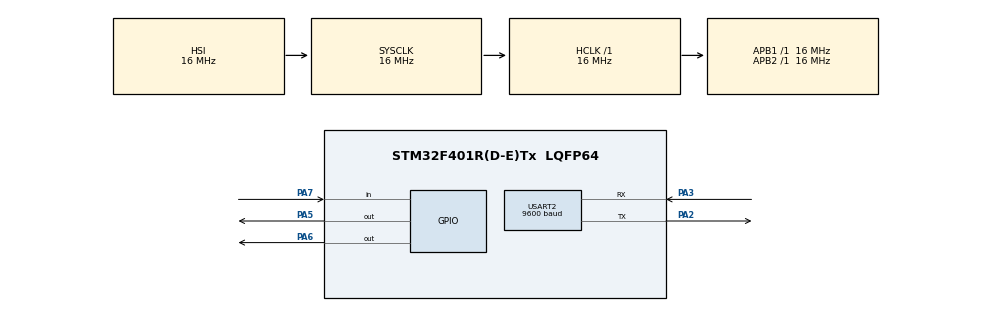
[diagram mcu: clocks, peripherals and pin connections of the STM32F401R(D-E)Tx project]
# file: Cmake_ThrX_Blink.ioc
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Mcu.Family=STM32F4
Mcu.Name=STM32F401R(D-E)Tx
Mcu.Package=LQFP64
NVIC.PriorityGroup=NVIC_PRIORITYGROUP_4
NVIC.TIM5_IRQn=true\:15\:0\:false\:false\:true\:false\:false\:true\:true
NVIC.TimeBase=TIM5_IRQn
NVIC.TimeBaseIP=TIM5
NVIC.USART2_IRQn=true\:0\:0\:false\:false\:true\:false\:true\:true\:true
PA2.Mode=Asynchronous
PA2.Signal=USART2_TX
PA3.Mode=Asynchronous
PA3.Signal=USART2_RX
PA5.Signal=GPIO_Output
PA6.Signal=GPIO_Output
PA7.Signal=GPIO_Input
ProjectManager.HeapSize=0x200
ProjectManager.StackSize=0x400
ProjectManager.TargetToolchain=CMake
RCC.48MHZClocksFreq_Value=48000000
RCC.AHBFreq_Value=16000000
RCC.APB1Freq_Value=16000000
RCC.APB1TimFreq_Value=16000000
RCC.APB2Freq_Value=16000000
RCC.APB2TimFreq_Value=16000000
RCC.CortexFreq_Value=16000000
RCC.HCLKFreq_Value=16000000
RCC.HSE_VALUE=25000000
RCC.HSI_VALUE=16000000
RCC.LSE_VALUE=32768
RCC.SYSCLKFreq_VALUE=16000000
RCC.VCOOutputFreq_Value=192000000
STMicroelectronics.X-CUBE-AZRTOS-F4.1.1.0.ThreadXCcRTOSJjThreadXJjCore=true
STMicroelectronics.X-CUBE-AZRTOS-F4.1.1.0_IsAnAzureRtosMw=true
USART2.BaudRate=9600
USART2.Mode=MODE_TX
USART2.VirtualMode=VM_ASYNC
VP_STMicroelectronics.X-CUBE-AZRTOS-F4_VS_RTOSJjThreadX_6.1.10_1.1.0.Mode=RTOSJjThreadX
VP_SYS_VS_tim5.Mode=TIM5
board=custom

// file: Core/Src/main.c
/* USER CODE BEGIN Header */
/**
  ******************************************************************************
  * @file           : main.c
  * @brief          : Main program body
  ******************************************************************************
  * @attention
  *
  * Copyright (c) 2025 STMicroelectronics.
  * All rights reserved.
  *
  * This software is licensed under terms that can be found in the LICENSE file
  * in the root directory of this software component.
  * If no LICENSE file comes with this software, it is provided AS-IS.
  *
  ******************************************************************************
  */
/* USER CODE END Header */
#include "app_threadx.h"
#include "main.h"

UART_HandleTypeDef huart2;

/* USER CODE BEGIN PV */
char msg[] = "Hello, UART!\r\n";

/* USER CODE END PV */

void SystemClock_Config(void);
static void MX_GPIO_Init(void);
static void MX_USART2_UART_Init(void);

/* USER CODE BEGIN 0 */
void debug_message(const char *message)
{
    HAL_UART_Transmit(&huart2, (uint8_t *)message, strlen(message), HAL_MAX_DELAY);
}
void delay(volatile uint32_t delay_count) {
    while (delay_count--) {
        __asm("NOP");  // No operation, just waste cycles
    }
}
/* USER CODE END 0 */

int main(void)
{

  /* MCU Configuration--------------------------------------------------------*/

  /* Reset of all peripherals, Initializes the Flash interface and the Systick. */
  HAL_Init();

  /* Configure the system clock */
  SystemClock_Config();

  /* Initialize all configured peripherals */
  MX_GPIO_Init();
  HAL_GPIO_WritePin(GPIOA, GPIO_PIN_5, GPIO_PIN_SET);  // Force HIGH

  MX_USART2_UART_Init();

  /* USER CODE BEGIN 2 */
  char message[] = "Hello, Virtual Terminal!\r\n";
  HAL_UART_Transmit(&huart2, (uint8_t *)message, strlen(message), HAL_MAX_DELAY);
  debug_message("System initialized.\r\n");
  debug_message("UART test: System is initializing.\r\n");
  debug_message("LED Test: System is initializing.\r\n");
  delay(500000);           // Custom delay
  HAL_GPIO_TogglePin(GPIOA, GPIO_PIN_5);
  delay(500000);           // Custom delay
  HAL_GPIO_TogglePin(GPIOA, GPIO_PIN_5);
  // Initalize the switch and wait for user to press it to continue
  debug_message("Press the user button to continue.\r\n");
  while (HAL_GPIO_ReadPin(GPIOA, GPIO_PIN_7) == GPIO_PIN_SET) {
      HAL_GPIO_TogglePin(GPIOA, GPIO_PIN_6);
      delay(50000);  // Custom delay
  }
  debug_message("System is ready.\r\n");
  /* USER CODE END 2 */

  MX_ThreadX_Init();

  /* We should never get here as control is now taken by the scheduler */

  /* Infinite loop */
  /* USER CODE BEGIN WHILE */
  debug_message("ThreadX kernel started.\r\n");
  while (1)
  {
    /* USER CODE END WHILE */

  }
}

void SystemClock_Config(void)
{
  RCC_OscInitTypeDef RCC_OscInitStruct = {0};
  RCC_ClkInitTypeDef RCC_ClkInitStruct = {0};

  /** Configure the main internal regulator output voltage
  */
  __HAL_RCC_PWR_CLK_ENABLE();
  __HAL_PWR_VOLTAGESCALING_CONFIG(PWR_REGULATOR_VOLTAGE_SCALE2);

  /** Initializes the RCC Oscillators according to the specified parameters
  * in the RCC_OscInitTypeDef structure.
  */
  RCC_OscInitStruct.OscillatorType = RCC_OSCILLATORTYPE_HSI;
  RCC_OscInitStruct.HSIState = RCC_HSI_ON;
  RCC_OscInitStruct.HSICalibrationValue = RCC_HSICALIBRATION_DEFAULT;
  RCC_OscInitStruct.PLL.PLLState = RCC_PLL_NONE;
  if (HAL_RCC_OscConfig(&RCC_OscInitStruct) != HAL_OK)
  {
    Error_Handler();
  }

  /** Initializes the CPU, AHB and APB buses clocks
  */
  RCC_ClkInitStruct.ClockType = RCC_CLOCKTYPE_HCLK|RCC_CLOCKTYPE_SYSCLK
                              |RCC_CLOCKTYPE_PCLK1|RCC_CLOCKTYPE_PCLK2;
  RCC_ClkInitStruct.SYSCLKSource = RCC_SYSCLKSOURCE_HSI;
  RCC_ClkInitStruct.AHBCLKDivider = RCC_SYSCLK_DIV1;
  RCC_ClkInitStruct.APB1CLKDivider = RCC_HCLK_DIV1;
  RCC_ClkInitStruct.APB2CLKDivider = RCC_HCLK_DIV1;

  if (HAL_RCC_ClockConfig(&RCC_ClkInitStruct, FLASH_LATENCY_0) != HAL_OK)
  {
    Error_Handler();
  }
}

static void MX_USART2_UART_Init(void)
{

  huart2.Instance = USART2;
  huart2.Init.BaudRate = 9600;
  huart2.Init.WordLength = UART_WORDLENGTH_8B;
  huart2.Init.StopBits = UART_STOPBITS_1;
  huart2.Init.Parity = UART_PARITY_NONE;
  huart2.Init.Mode = UART_MODE_TX;
  huart2.Init.HwFlowCtl = UART_HWCONTROL_NONE;
  huart2.Init.OverSampling = UART_OVERSAMPLING_16;
  if (HAL_UART_Init(&huart2) != HAL_OK)
  {
    Error_Handler();
  }
  /* USER CODE BEGIN USART2_Init 2 */
  // Verify GPIO configuration for PA2 (TX) and PA3 (RX)
  // Check if pins are in alternate function mode (0b10)
  if ((GPIOA->MODER & (3U << (2 * 2))) != (2U << (2 * 2)) ||
      (GPIOA->MODER & (3U << (3 * 2))) != (2U << (3 * 2))) {
      // Set PA2 and PA3 to alternate function mode
      GPIOA->MODER &= ~((3U << (2 * 2)) | (3U << (3 * 2)));
      GPIOA->MODER |= (2U << (2 * 2)) | (2U << (3 * 2));
  }

  // Verify alternate function configuration
  if ((GPIOA->AFR[0] & (0xF << (2 * 4))) != (7U << (2 * 4)) ||
      (GPIOA->AFR[0] & (0xF << (3 * 4))) != (7U << (3 * 4))) {
      // Set alternate function 7 (USART2) for PA2 and PA3
      GPIOA->AFR[0] &= ~((0xF << (2 * 4)) | (0xF << (3 * 4)));
      GPIOA->AFR[0] |= (7U << (2 * 4)) | (7U << (3 * 4));
  }
  /* USER CODE END USART2_Init 2 */

}

static void MX_GPIO_Init(void)
{
  GPIO_InitTypeDef GPIO_InitStruct = {0};

  /* GPIO Ports Clock Enable */
  __HAL_RCC_GPIOA_CLK_ENABLE();

  /*Configure GPIO pin Output Level */
  HAL_GPIO_WritePin(GPIOA, GPIO_PIN_5|GPIO_PIN_6, GPIO_PIN_RESET);

  /*Configure GPIO pins : PA5 PA6 */
  GPIO_InitStruct.Pin = GPIO_PIN_5|GPIO_PIN_6;
  GPIO_InitStruct.Mode = GPIO_MODE_OUTPUT_PP;
  GPIO_InitStruct.Pull = GPIO_NOPULL;
  GPIO_InitStruct.Speed = GPIO_SPEED_FREQ_LOW;
  HAL_GPIO_Init(GPIOA, &GPIO_InitStruct);

  /*Configure GPIO pin : PA7 */
  GPIO_InitStruct.Pin = GPIO_PIN_7;
  GPIO_InitStruct.Mode = GPIO_MODE_INPUT;
  GPIO_InitStruct.Pull = GPIO_NOPULL;
  HAL_GPIO_Init(GPIOA, &GPIO_InitStruct);

/* USER CODE BEGIN MX_GPIO_Init_2 */
// Verify configuration
// Verify PA5
if ((GPIOA->MODER & (3U << (5 * 2))) != (1U << (5 * 2))) {
    GPIOA->MODER &= ~(3U << (5 * 2));
    GPIOA->MODER |= (1U << (5 * 2));
}
// Verify PA6
if ((GPIOA->MODER & (3U << (6 * 2))) != (1U << (6 * 2))) {
    GPIOA->MODER &= ~(3U << (6 * 2));
    GPIOA->MODER |= (1U << (6 * 2));
}
// Verify PA7
if ((GPIOA->MODER & (3U << (7 * 2))) != (0U << (7 * 2))) {
    GPIOA->MODER &= ~(3U << (7 * 2));
}
/* USER CODE END MX_GPIO_Init_2 */
}

void HAL_TIM_PeriodElapsedCallback(TIM_HandleTypeDef *htim)
{
  if (htim->Instance == TIM5) {
    HAL_IncTick();
  }
}

void Error_Handler(void)
{
  __disable_irq();
  while (1)
  {
  }
}
